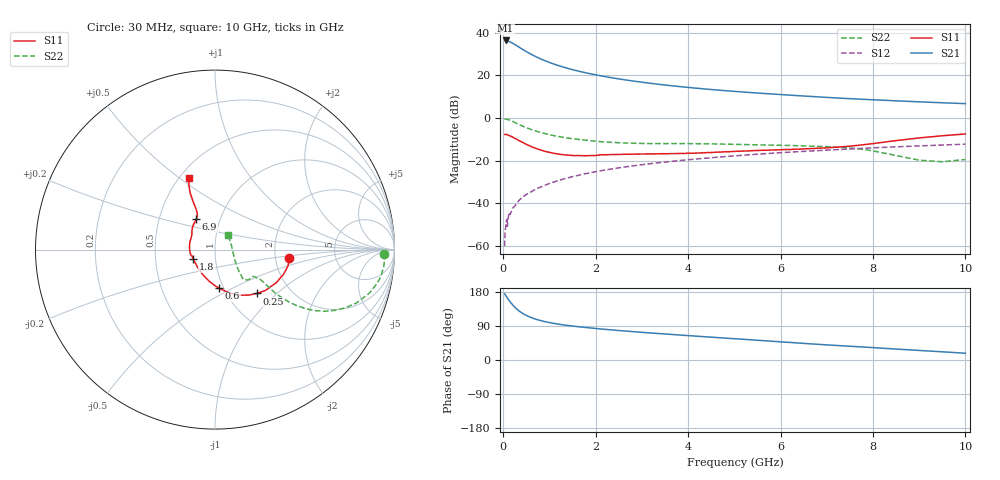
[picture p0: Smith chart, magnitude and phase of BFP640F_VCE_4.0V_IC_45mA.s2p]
! Infineon Technologies  Discrete & RF Semiconductors
! BFP640F
! VCE =  4.0 V,  IC =  45 mA
! Common Emitter S-Parameters:  Apr 2013
# GHz  S  MA  R  50
!  f  S11  S21  S12  S22
! GHz  MAG  ANG  MAG  ANG  MAG  ANG  MAG  ANG
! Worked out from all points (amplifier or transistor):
!   99 points, 30 MHz to 10 GHz, reference 50 ohm
!   highest |S21| = 36.4 dB at 50 MHz (marker M1)
!   |S21| within 3 dB of that: start of sweep to 332 MHz
!   unconditionally stable (mu >= 1): 1.496 GHz to end of sweep
!   at 350 MHz: K = 0.62, MSG = 35.8 dB, |S12| = -38.4 dB
!   at 3.5 GHz: K = 1.06, MAG = 16.5 dB, |S12| = -20.6 dB
!   at 10 GHz: K = 1.04, MAG = 8.3 dB, |S12| = -12.2 dB
!   S11 on the Smith chart (normalised r, x): 30 MHz: 2.39, -0.26; 250 MHz: 1.37, -0.75; 600 MHz: 0.95, -0.43; 1.8 GHz: 0.78, -0.08; 6.9 GHz: 0.77, +0.27; 10 GHz: 0.56, +0.54
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0.03  0.4159 -6.2  65.95 174.6  0.001 67.8  0.9391 -1.4
0.05  0.4163 -10.8  66.13 171.1  0.0027 59.9  0.9457 -4.4
0.11  0.3986 -22.6  63.62 160.1  0.0046 67.7  0.921 -11.9
0.15  0.3813 -30.4  61.05 153.5  0.0055 76.4  0.8881 -16.3
0.2  0.3618 -38.9  57.26 146.0  0.0077 75.1  0.8422 -20.7
0.25  0.3376 -46.4  53.23 139.4  0.0086 75.5  0.7932 -24.2
0.3  0.3167 -53.1  49.29 133.7  0.0104 73.9  0.7464 -27.0
0.4  0.2769 -64.9  42.11 124.5  0.0137 75.1  0.6642 -30.9
0.5  0.2431 -74.8  36.23 117.6  0.0163 74.6  0.5983 -33.2
0.6  0.2172 -83.8  31.53 112.2  0.0187 75.3  0.5438 -34.6
0.8  0.1807 -99.6  24.72 104.3  0.0241 74.8  0.465 -35.7
1  0.1579 -113.6  20.18 98.8  0.0294 74.5  0.4101 -35.7
1.3  0.1389 -132.6  15.73 92.7  0.0373 74.0  0.3549 -34.7
1.7  0.1321 -153.0  12.13 86.8  0.0478 72.4  0.3106 -33.5
1.8  0.132 -157.1  11.47 85.6  0.0504 72.1  0.3031 -33.5
2.5  0.1411 -179.5  8.315 77.8  0.0684 68.6  0.2656 -34.7
3.4  0.1468 160.7  6.148 69.5  0.091 64.3  0.2531 -38.3
5.1  0.1676 139.6  4.165 55.4  0.133 55.2  0.242 -44.2
6.7  0.1942 123.9  3.203 42.2  0.171 46.0  0.2206 -46.1
6.9  0.1995 121.6  3.108 40.7  0.1755 44.9  0.217 -45.8
8.5  0.2974 114.5  2.547 28.9  0.2128 35.7  0.1336 -31.3
10  0.4261 110.0  2.188 17.9  0.2454 27.0  0.1074 47.5
